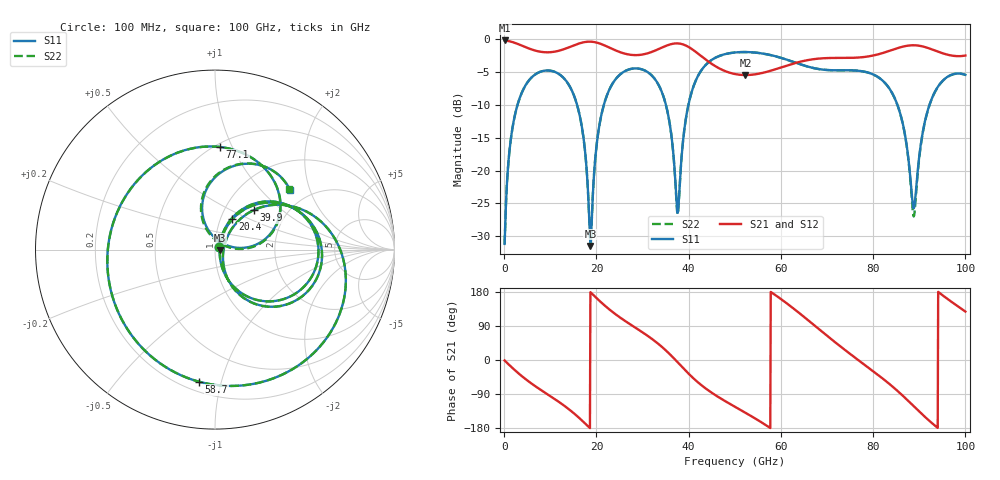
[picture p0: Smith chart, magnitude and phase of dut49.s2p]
! Touchstone file exported from HFSS 2026.1.0
!  File:  C:/ffzhzh/LocalFiles/Ansys_Project_Files/temp_train_TSV_RDL_49_1783621030_26216.aedt
!  Generated:  02:25:57 AM Jul 10, 2026
!  Design:  TSV_RDL
!  Project:  temp_train_TSV_RDL_49_1783621030_26216
! Variables:
!  h_bsmrdl = 2.28um
!  h_ox = 20um
!  h_rdl = 5um
!  h_sub = 88.24um
!  h_tmrdl = 2.62um
!  h_tsv = 88.24um
!  h_via = 3um
!  l_bsmrdl = 577.31um
!  l_sub = 3064.49um
!  l_tmrdl = 202.9um
!  m_sub = 200um
!  pitch = 49.27um
!  r_tsv = 8.34um
!  s_tmrdl = 10um
!  w_bsmrdl = 14.12um
!  w_sub = 500um
!  w_tmrdl = 26.2um
!  x_tsv_center1 = 216um
!  x_tsv_center2 = 807.43um
!  x_tsv_center3 = 1036.53um
!  x_tsv_center4 = 1627.96um
!  x_tsv_center5 = 1857.06um
!  x_tsv_center6 = 2448.49um
# GHz S MA R 50.000000
! Terminal data exported
! Port[1] = TM_RDL1_1_T1
! Port[2] = TM_RDL5_1_T1
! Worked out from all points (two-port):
!   1000 points, 100 MHz to 100 GHz, reference 50 ohm
!   highest |S21| = -0.22 dB at 100 MHz (marker M1); lowest = -5.5 dB at 52.3 GHz (marker M2)
!   |S21| within 3 dB of the highest: start of sweep to 43.88 GHz; 65.72 GHz to end of sweep
!   lowest |S11| = -31.5 dB at 18.7 GHz (marker M3), VSWR 1.05, Z = 52.7 - j0.425 ohm
!   |S11| at or under -10 dB: 15.81 GHz to 21.62 GHz (5.815 GHz wide, 31.1 % of centre); 35.07 GHz to 39.95 GHz (4.886 GHz wide, 13 % of centre); 85.26 GHz to 92.22 GHz (6.958 GHz wide, 7.84 % of centre) (the widest 3 of 4)
!   |S22| runs from -31.5 to -2.0 dB; largest |S21 - S12| = 2.8e-14
!   S11 on the Smith chart (normalised r, x): 100 MHz: 1.05, +0.03; 20.4 GHz: 1.14, +0.40; 39.9 GHz: 1.37, +0.67; 58.7 GHz: 0.26, -0.85; 77.1 GHz: 0.53, +0.90; 100 GHz: 1.59, +1.48
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0.1  0.02771 26.5  0.9754 -1.2  0.9754 -1.2  0.02771 26.5
! Gamma 0 0 0 0
! Port Impedance 50 0 50 0
1.9  0.2207 60.1  0.9459 -22.2  0.9459 -22.2  0.2207 60.1
5.3  0.4811 30.4  0.8494 -56.5  0.8494 -56.5  0.4811 30.4
10.6  0.5686 -11.2  0.7982 -100.1  0.7982 -100.1  0.5686 -11.3
16.8  0.2202 -64.1  0.9371 -158.8  0.9371 -158.8  0.2202 -64.1
18.7  0.02671 -8.7  0.9549 179.0  0.9549 179.0  0.02664 -8.7
20.4  0.1948 60.2  0.9324 159.2  0.9324 159.2  0.1948 60.2
27.3  0.5908 2.9  0.7598 94.4  0.7598 94.4  0.5908 2.8
33.4  0.4534 -44.6  0.8363 42.9  0.8363 42.9  0.4533 -44.7
37.6  0.04773 -10.2  0.9266 -5.7  0.9266 -5.7  0.04637 -10.3
39.9  0.3101 45.3  0.8738 -35.0  0.8738 -35.0  0.31 45.5
44.8  0.6864 2.2  0.6546 -84.7  0.6546 -84.7  0.6864 2.2
50.1  0.7908 -34.8  0.5414 -123.8  0.5414 -123.8  0.7908 -34.9
52.3  0.7964 -49.5  0.5323 -139.1  0.5323 -139.1  0.7964 -49.5
58.7  0.7415 -96.8  0.5875 172.2  0.5875 172.2  0.7414 -96.8
66.7  0.606 -171.7  0.6998 97.0  0.6998 97.0  0.6057 -171.7
77.1  0.5725 87.3  0.7246 -3.2  0.7246 -3.2  0.5722 87.2
83.4  0.4266 31.7  0.8102 -61.9  0.8102 -61.9  0.4264 31.2
86.5  0.2211 6.2  0.8764 -95.1  0.8764 -95.1  0.2203 4.7
88.8  0.05168 57.3  0.8968 -121.9  0.8968 -121.9  0.04478 56.7
92.6  0.3443 97.4  0.8378 -165.0  0.8378 -165.0  0.3429 98.7
100  0.5341 38.4  0.7493 127.8  0.7493 127.8  0.5335 39.1
